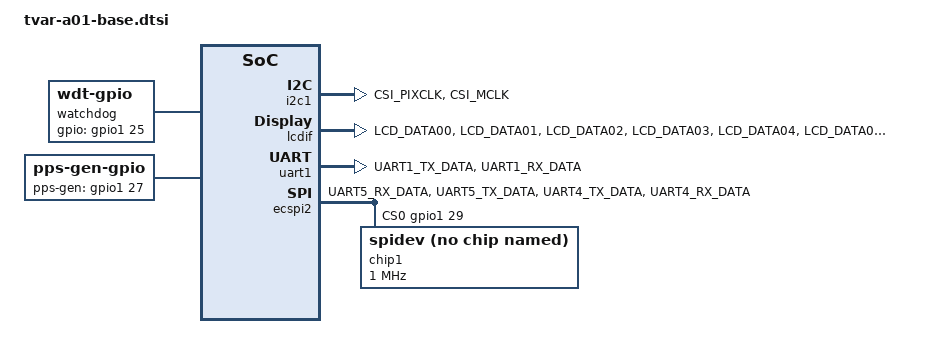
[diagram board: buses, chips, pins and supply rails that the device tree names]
/*
 * Copyright (C) 2019 Variscite Ltd. - https://www.variscite.com
 *
 * This program is free software; you can redistribute it and/or modify
 * it under the terms of the GNU General Public License version 2 as
 * published by the Free Software Foundation.
 */

/ {
	chosen {
		stdout-path = &uart1;
	};
	
	//leds {
	//	compatible = "gpio-leds";
	//	pinctrl-names = "default";
	//	pinctrl-0 = <&pinctrl_gpio_leds>;
	//
	//	gpled2 {
	//		gpios = <&gpio1 25 GPIO_ACTIVE_HIGH>;
	//		linux,default-trigger = "heartbeat";
	//	};
	//};
	
	watchdog {
		compatible = "linux,wdt-gpio";
		pinctrl-names = "default";
		pinctrl-0 = <&pinctrl_gpio_leds>;	
		gpios = <&gpio1 25 GPIO_ACTIVE_HIGH>;
		hw_algo = "toggle";
		hw_margin_ms = <1600>;
		status = "okay";
	};
	
	
	gpio_jtag {
		compatible = "gpio-jtag";
		pinctrl-names = "default";
		pinctrl-0 = <&pinctrl_gpio_jtag>;
		status = "okay";

		gpio_jtag_tck {
			gpios = <&gpio1 1 GPIO_ACTIVE_HIGH>;
		};
		gpio_jtag_tms {
			gpios = <&gpio1 2 GPIO_ACTIVE_HIGH>;
		};
		gpio_jtag_tdi {
			gpios = <&gpio1 3 GPIO_ACTIVE_HIGH>;
		};
		gpio_jtag_tdo {
			gpios = <&gpio1 4 GPIO_ACTIVE_HIGH>;
		};
	};	
	
	gpio_jtag_en {
		compatible = "gpio-jtag-en";
		pinctrl-names = "default";
		pinctrl-0 = <&pinctrl_gpio_jtag_en>;
		status = "okay";
		
		gpio_jtag_en {
			gpios = <&gpio5 1 GPIO_ACTIVE_HIGH>;
		};
	};

	///* Test PPS-GEN */
	pps-gen {
		pinctrl-names = "default";
		pinctrl-0 = <&pinctrl_pps>;
		compatible = "pps-gen-gpio";
		pps-gen-gpio = <&gpio1 27 GPIO_ACTIVE_HIGH>;
		
		/*assert-falling-edge;*/
	};	
		
};

&gpio1 {
	//gpio-reserved-ranges = <1 4>;
	
};

&i2c1 {
	clock_frequency = <100000>;
	pinctrl-names = "default";
	pinctrl-0 = <&pinctrl_i2c1>;
	status = "okay";
};

&iomuxc_snvs {
	pinctrl_gpio_jtag_en: gpio_jtag_engrp {
		fsl,pins = <
			MX6ULL_PAD_SNVS_TAMPER1__GPIO5_IO01	0x1b0b1
		>;
	};
};

&iomuxc {
	pinctrl_gpio_leds: gpio_ledsgrp {
		fsl,pins = <
			MX6UL_PAD_UART3_RX_DATA__GPIO1_IO25	0x1b0b0	 /* GPLED2 */
		>;
	};
	

	pinctrl_i2c1: i2c1grp {
		fsl,pins = <
			MX6UL_PAD_CSI_PIXCLK__I2C1_SCL		0x4001b8b0
			MX6UL_PAD_CSI_MCLK__I2C1_SDA		0x4001b8b0
		>;
	};

	pinctrl_lcdif_ctrl: lcdifctrlgrp {
		fsl,pins = <
			MX6UL_PAD_LCD_CLK__LCDIF_CLK		0x79
			MX6UL_PAD_LCD_ENABLE__LCDIF_ENABLE	0x79
		>;
	};

	pinctrl_lcdif_dat: lcdifdatgrp {
		fsl,pins = <
			MX6UL_PAD_LCD_DATA00__LCDIF_DATA00	0x79
			MX6UL_PAD_LCD_DATA01__LCDIF_DATA01	0x79
			MX6UL_PAD_LCD_DATA02__LCDIF_DATA02	0x79
			MX6UL_PAD_LCD_DATA03__LCDIF_DATA03	0x79
			MX6UL_PAD_LCD_DATA04__LCDIF_DATA04	0x79
			MX6UL_PAD_LCD_DATA05__LCDIF_DATA05	0x79
			MX6UL_PAD_LCD_DATA06__LCDIF_DATA06	0x79
			MX6UL_PAD_LCD_DATA07__LCDIF_DATA07	0x79
			MX6UL_PAD_LCD_DATA08__LCDIF_DATA08	0x79
			MX6UL_PAD_LCD_DATA09__LCDIF_DATA09	0x79
			MX6UL_PAD_LCD_DATA10__LCDIF_DATA10	0x79
			MX6UL_PAD_LCD_DATA11__LCDIF_DATA11	0x79
			MX6UL_PAD_LCD_DATA12__LCDIF_DATA12	0x79
			MX6UL_PAD_LCD_DATA13__LCDIF_DATA13	0x79
			MX6UL_PAD_LCD_DATA14__LCDIF_DATA14	0x79
			MX6UL_PAD_LCD_DATA15__LCDIF_DATA15	0x79
			MX6UL_PAD_LCD_DATA16__LCDIF_DATA16	0x79
			MX6UL_PAD_LCD_DATA17__LCDIF_DATA17	0x79
			MX6UL_PAD_LCD_DATA18__LCDIF_DATA18	0x79
			MX6UL_PAD_LCD_DATA19__LCDIF_DATA19	0x79
			MX6UL_PAD_LCD_DATA20__LCDIF_DATA20	0x79
			MX6UL_PAD_LCD_DATA21__LCDIF_DATA21	0x79
			MX6UL_PAD_LCD_DATA22__LCDIF_DATA22	0x79
			MX6UL_PAD_LCD_DATA23__LCDIF_DATA23	0x79
		>;
	};

	pinctrl_uart1: uart1grp {
		fsl,pins = <
			MX6UL_PAD_UART1_TX_DATA__UART1_DCE_TX	0x1b0b1
			MX6UL_PAD_UART1_RX_DATA__UART1_DCE_RX	0x1b0b1
		>;
	};
	
	pinctrl_ecspi2_1: ecspi2grp {
		fsl,pins = <
			MX6UL_PAD_UART5_RX_DATA__ECSPI2_MISO	0x100b1
			MX6UL_PAD_UART5_TX_DATA__ECSPI2_MOSI	0x100b1
			MX6UL_PAD_UART4_TX_DATA__ECSPI2_SCLK	0x100b1
			MX6UL_PAD_UART4_RX_DATA__GPIO1_IO29		0x100b1
		>;
	};
	
	pinctrl_gpio_jtag: gpio_jtaggrp {
		fsl,pins = <
			MX6UL_PAD_GPIO1_IO01__GPIO1_IO01	0x1b0b1
			MX6UL_PAD_GPIO1_IO02__GPIO1_IO02	0x1b0b1
			MX6UL_PAD_GPIO1_IO03__GPIO1_IO03	0x1b0b1
			MX6UL_PAD_GPIO1_IO04__GPIO1_IO04	0x1b0b1
		>;
	};
	
	pinctrl_pps: gpio_ppsgrp {
		fsl,pins = <
			MX6UL_PAD_UART3_RTS_B__GPIO1_IO27	0x1b0b1
		>;
	};
	/* Test UART for 485 and Zigbee*/
	/*
	pinctrl_uart5: uart5grp {
		fsl,pins = <
			MX6UL_PAD_CSI_DATA00__UART5_DCE_TX	0x1b0b1
			MX6UL_PAD_CSI_DATA01__UART5_DCE_RX	0x1b0b1
			MX6UL_PAD_GPIO1_IO08__UART5_DCE_RTS	0x1b0b1
			MX6UL_PAD_GPIO1_IO09__UART5_DCE_CTS	0x1b0b1			
		>;
	};
	*/
};

/* Test UART for 485 */
/*
&uart5 {
	pinctrl-names = "default";
	pinctrl-0 = <&pinctrl_uart5>;
	fsl,uart-has-rtscts;
	status = "okay";
};
*/
/* Test UART for Zigbee */
/*
&uart5 {
	pinctrl-names = "default";
	pinctrl-0 = <&pinctrl_uart5>;
	fsl,uart-has-rtscts;
	status = "okay";
};
*/


&lcdif {
	pinctrl-names = "default";
	pinctrl-0 = <&pinctrl_lcdif_dat
		     &pinctrl_lcdif_ctrl>;
	display = <&display0>;
	interface_pix_fmt = "RGB24";
	status = "okay";

	display0: display {
		bits-per-pixel = <24>;
		bus-width = <24>;

		display-timings {
			native-mode = <&timing0>;
			timing0: timing0 {
				clock-frequency =<33000000>;
				hactive = <800>;
				vactive = <480>;
				hfront-porch = <40>;
				hback-porch = <88>;
				hsync-len = <128>;
				vback-porch = <33>;
				vfront-porch = <10>;
				vsync-len = <2>;
				hsync-active = <0>;
				vsync-active = <0>;
				de-active = <1>;
				pixelclk-active = <0>;
			};
		};
	};
};


&snvs_pwrkey {
	status = "disabled";
};

&tsc {
	status = "disabled";
};

&uart1 {
	pinctrl-names = "default";
	pinctrl-0 = <&pinctrl_uart1>;
	status = "okay";
};

&ecspi2 {
	fsl,spi-num-chipselects = <1>;
	cs-gpios = <&gpio1 29 0>;
	pinctrl-names = "default";
	pinctrl-0 = <&pinctrl_ecspi2_1>;
	status = "okay";

	chip1:spidev@0 {
		compatible = "spidev";
		spi-max-frequency = <1000000>;
		reg = <0>;
	};
};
